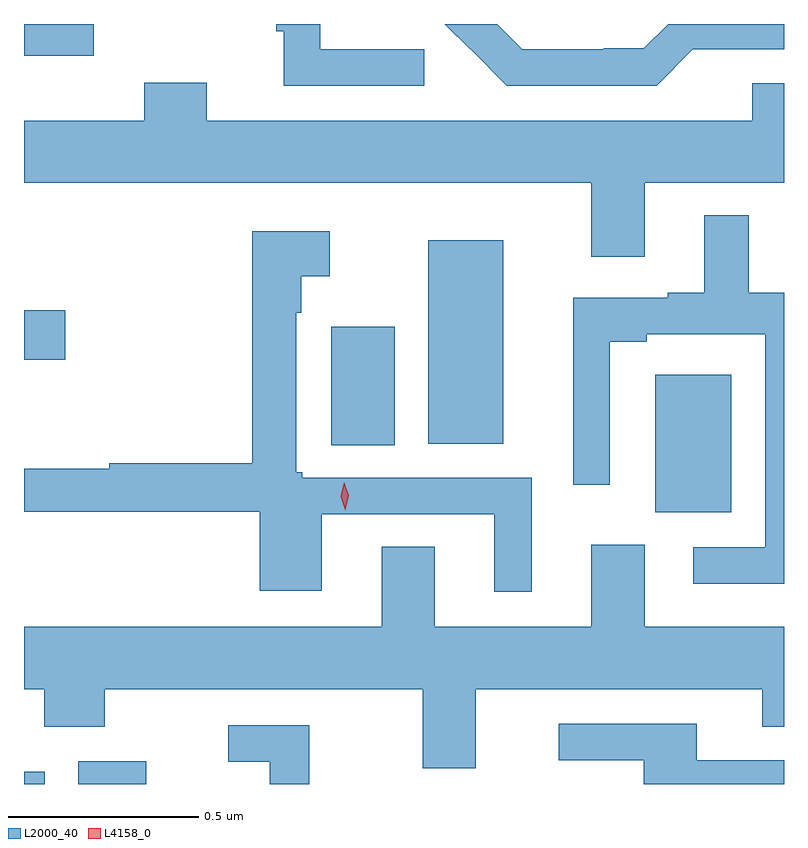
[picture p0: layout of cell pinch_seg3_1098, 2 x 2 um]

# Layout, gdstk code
import gdstk
lib = gdstk.Library(unit=1e-6, precision=1e-09)
def R(c, l, rs):  # rectangles x0, y0, x1, y1
    for r in rs: c.add(gdstk.rectangle(r[:2], r[2:], *l))
def P(c, l, *ps):  # polygons
    for p in ps: c.add(gdstk.Polygon(p, *l))
L2000_40 = (2000, 40)
L4158_0 = (4158, 0)

pinch_seg3_1098 = lib.new_cell('pinch_seg3_1098')
R(pinch_seg3_1098, L2000_40, [(370.308,678.022,370.362,678.054), (370.451,678.022,370.63,678.082), (371.969,678.737,372.169,679.099), (371.117,678.913,371.284,679.225), (371.372,678.917,371.569,679.453), (370.308,679.139,370.417,679.269), (370.308,679.938,370.492,680.022)])
P(pinch_seg3_1098, L2000_40, [(372.068,679.955),(372.172,679.955),(372.172,679.956),(372.308,679.956),(372.308,680.022),(372.003,680.022),(371.939,679.958),(371.834,679.958),(371.834,679.956),(371.619,679.956),(371.553,680.022),(371.415,680.022),(371.482,679.955),(371.483,679.956),(371.579,679.86),(371.973,679.86)],
  [(371.361,679.956),(371.088,679.956),(371.088,680.022),(370.972,680.022),(370.972,680.003),(370.991,680.003),(370.991,679.86),(371.361,679.86)],
  [(370.789,679.867),(370.625,679.867),(370.625,679.768),(370.308,679.768),(370.308,679.604),(371.801,679.604),(371.801,679.41),(371.941,679.41),(371.941,679.604),(372.308,679.604),(372.308,679.866),(372.224,679.866),(372.224,679.768),(370.789,679.768)],
  [(372.308,679.315),(372.215,679.315),(372.215,679.519),(372.098,679.519),(372.098,679.315),(372.002,679.315),(372.002,679.302),(371.753,679.302),(371.753,678.81),(371.85,678.81),(371.85,679.186),(371.947,679.186),(371.947,679.206),(372.258,679.206),(372.258,678.645),(372.069,678.645),(372.069,678.549),(372.308,678.549)],
  [(371.644,678.828),(371.04,678.828),(371.04,678.843),(371.025,678.843),(371.025,679.262),(371.038,679.262),(371.038,679.358),(371.113,679.358),(371.113,679.477),(370.909,679.477),(370.909,678.866),(370.532,678.866),(370.532,678.851),(370.308,678.851),(370.308,678.738),(370.928,678.738),(370.928,678.531),(371.092,678.531),(371.092,678.732),(371.546,678.732),(371.546,678.528),(371.644,678.528)],
  [(371.497,678.272),(372.251,678.272),(372.251,678.173),(372.308,678.173),(372.308,678.436),(371.941,678.436),(371.941,678.652),(371.801,678.652),(371.801,678.436),(371.389,678.436),(371.389,678.647),(371.249,678.647),(371.249,678.436),(370.308,678.436),(370.308,678.272),(370.361,678.272),(370.361,678.173),(370.521,678.173),(370.521,678.272),(371.357,678.272),(371.357,678.064),(371.497,678.064)],
  [(372.308,678.084),(372.079,678.084),(372.079,678.18),(371.715,678.18),(371.715,678.084),(371.939,678.084),(371.939,678.022),(372.308,678.022)],
  [(371.059,678.177),(370.845,678.177),(370.845,678.081),(370.955,678.081),(370.955,678.022),(371.059,678.022)])
P(pinch_seg3_1098, L4158_0, [(371.153,678.743),(371.153,678.744),(371.142,678.779),(371.151,678.815),(371.151,678.815),(371.151,678.815),(371.162,678.78),(371.154,678.744)])

lib.write_gds('pinch_seg3_1098.gds')
